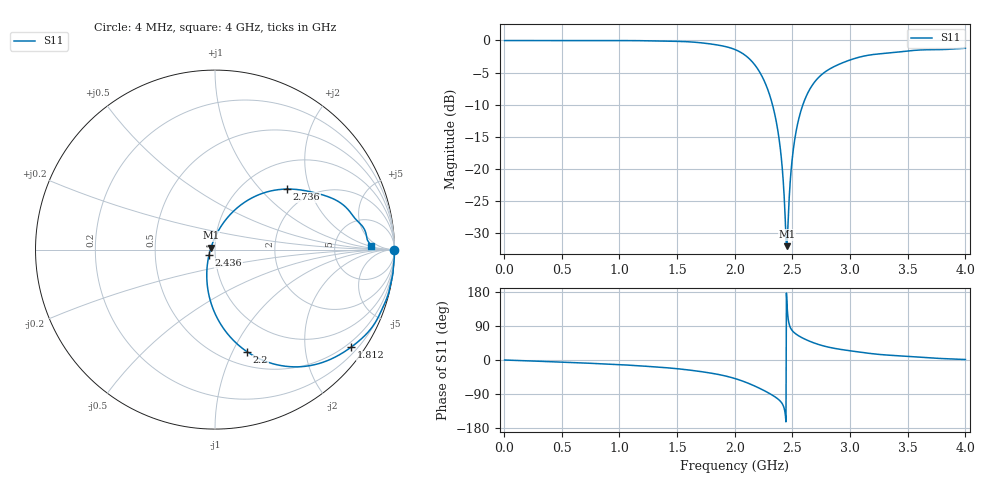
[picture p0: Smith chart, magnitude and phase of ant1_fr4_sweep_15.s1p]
! TOUCHSTONE file generated by CST MICROWAVE STUDIO
! Date and time: Fri May  6 15:38:58 2022
! Project name: ant1_ceramic_sweep_fr4.cst
! Parameters = {e=0.035; h=1.6; i=0.8; l1=0.5; l2=20.96; ls=79.2; wl=1.7; ws=30}
! Header version: 2018
! Port assignment regex: !\s*Touchstone port\s*([0-9]+)\s*=\s*(CST MWS port|CST DS port)\s*([0-9]+|Zmin|Zmax)\s*\(\"(.*)\"\)(\s*mode\s*([0-9]+))?.*
! Touchstone port assignment:
! Touchstone port 1 = CST MWS port 1 ("")
# GHz S DB R 50
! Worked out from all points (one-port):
!   1000 points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, 4 MHz to 4 GHz, reference 50 ohm
!   lowest |S11| = -32.1 dB at 2.452 GHz (marker M1), VSWR 1.05, Z = 47.8 + j1.09 ohm
!   |S11| at or under -10 dB: 2.327 GHz to 2.591 GHz (264.4 MHz wide, 10.8 % of centre)
!   S11 on the Smith chart (normalised r, x): 4 MHz: open; 1.812 GHz: 0.37, -3.08; 2.2 GHz: 0.64, -1.14; 2.436 GHz: 0.93, -0.05; 2.736 GHz: 1.54, +1.43; 4 GHz: 14, +2
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0.004  -0.01 -0.0
0.504  -0.01 -5.6
1.004  -0.02 -12.3
1.504  -0.14 -23.1
1.812  -0.60 -35.6
2.004  -1.43 -49.1
2.108  -2.56 -60.3
2.2  -4.47 -72.5
2.292  -7.95 -86.8
2.36  -12.66 -99.5
2.384  -15.31 -105.4
2.404  -18.36 -111.9
2.416  -20.85 -117.7
2.436  -27.18 -139.1
2.444  -30.67 -163.2
2.452  -32.08 152.9
2.464  -27.53 106.6
2.488  -20.37 82.1
2.504  -17.53 75.6
2.54  -13.43 66.5
2.592  -9.96 57.4
2.656  -7.44 48.6
2.736  -5.61 40.0
2.848  -4.20 31.7
3.004  -3.02 24.2
3.188  -2.22 16.8
3.504  -1.64 9.4
4  -1.21 1.3
